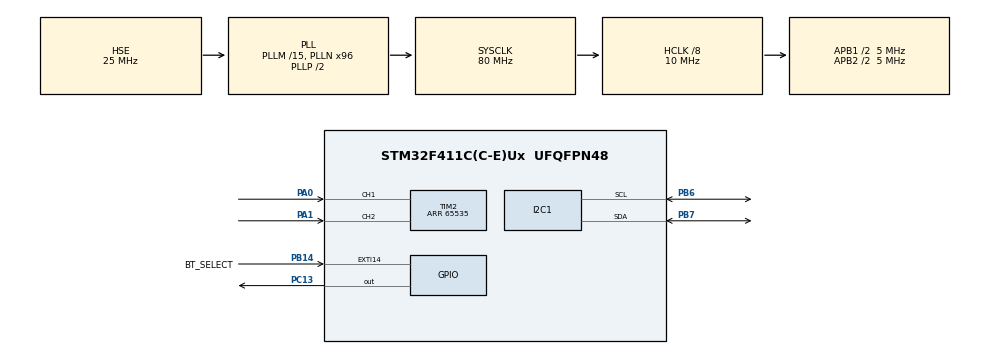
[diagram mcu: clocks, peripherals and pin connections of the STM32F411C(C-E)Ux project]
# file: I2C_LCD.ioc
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Mcu.Family=STM32F4
Mcu.Name=STM32F411C(C-E)Ux
Mcu.Package=UFQFPN48
NVIC.EXTI15_10_IRQn=true\:0\:0\:false\:false\:true\:true\:true\:true
NVIC.PriorityGroup=NVIC_PRIORITYGROUP_4
NVIC.TIM2_IRQn=true\:0\:0\:false\:false\:true\:true\:true\:true
PA0-WKUP.Signal=S_TIM2_CH1_ETR
PA1.Signal=S_TIM2_CH2
PA13.Mode=Serial_Wire
PA13.Signal=SYS_JTMS-SWDIO
PA14.Mode=Serial_Wire
PA14.Signal=SYS_JTCK-SWCLK
PB14.GPIO_Label=BT_SELECT
PB14.GPIO_ModeDefaultEXTI=GPIO_MODE_IT_FALLING
PB14.Signal=GPXTI14
PB6.Mode=I2C
PB6.Signal=I2C1_SCL
PB7.Mode=I2C
PB7.Signal=I2C1_SDA
PC13-ANTI_TAMP.Signal=GPIO_Output
PH0\ -\ OSC_IN.Mode=HSE-External-Oscillator
PH0\ -\ OSC_IN.Signal=RCC_OSC_IN
PH1\ -\ OSC_OUT.Mode=HSE-External-Oscillator
PH1\ -\ OSC_OUT.Signal=RCC_OSC_OUT
ProjectManager.HeapSize=0x200
ProjectManager.StackSize=0x400
ProjectManager.TargetToolchain=STM32CubeIDE
RCC.48MHZClocksFreq_Value=32000000
RCC.AHBCLKDivider=RCC_SYSCLK_DIV8
RCC.AHBFreq_Value=10000000
RCC.APB1CLKDivider=RCC_HCLK_DIV2
RCC.APB1Freq_Value=5000000
RCC.APB1TimFreq_Value=10000000
RCC.APB2CLKDivider=RCC_HCLK_DIV2
RCC.APB2Freq_Value=5000000
RCC.APB2TimFreq_Value=10000000
RCC.CortexFreq_Value=10000000
RCC.HCLKFreq_Value=10000000
RCC.HSE_VALUE=25000000
RCC.HSI_VALUE=16000000
RCC.LSE_VALUE=32768
RCC.PLLM=15
RCC.PLLN=96
RCC.PLLQ=5
RCC.PLLSourceVirtual=RCC_PLLSOURCE_HSE
RCC.SYSCLKFreq_VALUE=80000000
RCC.SYSCLKSource=RCC_SYSCLKSOURCE_PLLCLK
RCC.VCOOutputFreq_Value=160000000
SH.S_TIM2_CH1_ETR.0=TIM2_CH1,Encoder_Interface
SH.S_TIM2_CH2.0=TIM2_CH2,Encoder_Interface
TIM2.IC1Filter=15
TIM2.IC1Polarity=TIM_ICPOLARITY_FALLING
TIM2.IC2Filter=15
TIM2.Period=65535
TIM5.Period=4294967296-1
TIM5.Prescaler=10-1
VP_TIM5_VS_ClockSourceINT.Mode=Internal
board=custom

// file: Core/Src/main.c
/* USER CODE BEGIN Header */
/**
  ******************************************************************************
  * @file           : main.c
  * @brief          : Main program body
  ******************************************************************************
  * @attention
  *
  * Copyright (c) 2022 STMicroelectronics.
  * All rights reserved.
  *
  * This software is licensed under terms that can be found in the LICENSE file
  * in the root directory of this software component.
  * If no LICENSE file comes with this software, it is provided AS-IS.
  *
  ******************************************************************************
  */
/* USER CODE END Header */
#include "main.h"

/* USER CODE BEGIN Includes */
#include "i2c-lcd.h"
#include "HIL_INTERFACE.h"
#include "TimerHW.h"
/* USER CODE END Includes */

/* USER CODE BEGIN PD */
#define IDDLE 0;
/* USER CODE END PD */

I2C_HandleTypeDef hi2c1;

TIM_HandleTypeDef htim2;
TIM_HandleTypeDef htim5;

/* USER CODE BEGIN PV */
volatile char key = IDDLE;
unsigned char sensorFlag = 1; //ESTADO INICIAL 1->FORA DO TAPETE 0> SOBRE O TAPETE
volatile char uartBuffer[2];
volatile char rxMSG[2];
volatile char uartFlagRx;
volatile unsigned char samples = 0;
volatile unsigned char sensorState;
volatile unsigned int timer3Data = 0;
volatile unsigned int timer3Count = 0;

/* USER CODE END PV */

void SystemClock_Config(void);
static void MX_GPIO_Init(void);
static void MX_I2C1_Init(void);
static void MX_TIM2_Init(void);
static void MX_TIM5_Init(void);

/* USER CODE BEGIN 0 */

unsigned char* getSamplesCount()
{
	return &samples;
}

void resetTimer3Variable()
{
	timer3Data = 0;
}

unsigned char getKeyPressed()
{
	return key;
}

void resetKeyPressed()
{
	key = IDDLE;
	HAL_Delay(200);
}

TIM_HandleTypeDef* getTimer2Instance()
{
	return &htim2;
}

TIM_HandleTypeDef* getTimer3Instance()
{
//	return &htim3;
	return &htim5;
}

unsigned char* getSensorFlag()
{
	return &sensorFlag;
}

unsigned char* getTimer3Variable()
{
	return &timer3Data;
}

void delay(uint32_t delay)
{
	__HAL_TIM_SET_COUNTER(&htim5,0);
	while(__HAL_TIM_GET_COUNTER(&htim5) < delay);
}

/* USER CODE END 0 */

int main(void)
{

  /* MCU Configuration--------------------------------------------------------*/

  /* Reset of all peripherals, Initializes the Flash interface and the Systick. */
  HAL_Init();

  /* Configure the system clock */
  SystemClock_Config();

  /* Initialize all configured peripherals */
  MX_GPIO_Init();
  MX_I2C1_Init();
  MX_TIM2_Init();
  MX_TIM5_Init();
  /* USER CODE BEGIN 2 */
  lcd_init();
  lcd_clear();
  lcd_put_cur(0, 0);
  lcd_send_string("hello world");
  HAL_GPIO_WritePin(GPIOC, GPIO_PIN_13, RESET);
  measureValidation();

  /* USER CODE END 2 */

  /* Infinite loop */
  /* USER CODE BEGIN WHILE */
  HAL_TIM_Base_Start(&htim5);
  while (1)
  {
	  HAL_GPIO_TogglePin(GPIOC, GPIO_PIN_13);
	  delay(100000); // 1 tick = 1us
    /* USER CODE END WHILE */

  }
}

void SystemClock_Config(void)
{
  RCC_OscInitTypeDef RCC_OscInitStruct = {0};
  RCC_ClkInitTypeDef RCC_ClkInitStruct = {0};

  /** Configure the main internal regulator output voltage
  */
  __HAL_RCC_PWR_CLK_ENABLE();
  __HAL_PWR_VOLTAGESCALING_CONFIG(PWR_REGULATOR_VOLTAGE_SCALE1);

  /** Initializes the RCC Oscillators according to the specified parameters
  * in the RCC_OscInitTypeDef structure.
  */
  RCC_OscInitStruct.OscillatorType = RCC_OSCILLATORTYPE_HSE;
  RCC_OscInitStruct.HSEState = RCC_HSE_ON;
  RCC_OscInitStruct.PLL.PLLState = RCC_PLL_ON;
  RCC_OscInitStruct.PLL.PLLSource = RCC_PLLSOURCE_HSE;
  RCC_OscInitStruct.PLL.PLLM = 15;
  RCC_OscInitStruct.PLL.PLLN = 96;
  RCC_OscInitStruct.PLL.PLLP = RCC_PLLP_DIV2;
  RCC_OscInitStruct.PLL.PLLQ = 5;
  if (HAL_RCC_OscConfig(&RCC_OscInitStruct) != HAL_OK)
  {
    Error_Handler();
  }

  /** Initializes the CPU, AHB and APB buses clocks
  */
  RCC_ClkInitStruct.ClockType = RCC_CLOCKTYPE_HCLK|RCC_CLOCKTYPE_SYSCLK
                              |RCC_CLOCKTYPE_PCLK1|RCC_CLOCKTYPE_PCLK2;
  RCC_ClkInitStruct.SYSCLKSource = RCC_SYSCLKSOURCE_PLLCLK;
  RCC_ClkInitStruct.AHBCLKDivider = RCC_SYSCLK_DIV8;
  RCC_ClkInitStruct.APB1CLKDivider = RCC_HCLK_DIV2;
  RCC_ClkInitStruct.APB2CLKDivider = RCC_HCLK_DIV2;

  if (HAL_RCC_ClockConfig(&RCC_ClkInitStruct, FLASH_LATENCY_0) != HAL_OK)
  {
    Error_Handler();
  }
}

static void MX_I2C1_Init(void)
{

  hi2c1.Instance = I2C1;
  hi2c1.Init.ClockSpeed = 100000;
  hi2c1.Init.DutyCycle = I2C_DUTYCYCLE_2;
  hi2c1.Init.OwnAddress1 = 0;
  hi2c1.Init.AddressingMode = I2C_ADDRESSINGMODE_7BIT;
  hi2c1.Init.DualAddressMode = I2C_DUALADDRESS_DISABLE;
  hi2c1.Init.OwnAddress2 = 0;
  hi2c1.Init.GeneralCallMode = I2C_GENERALCALL_DISABLE;
  hi2c1.Init.NoStretchMode = I2C_NOSTRETCH_DISABLE;
  if (HAL_I2C_Init(&hi2c1) != HAL_OK)
  {
    Error_Handler();
  }

}

static void MX_TIM2_Init(void)
{

  TIM_Encoder_InitTypeDef sConfig = {0};
  TIM_MasterConfigTypeDef sMasterConfig = {0};

  htim2.Instance = TIM2;
  htim2.Init.Prescaler = 0;
  htim2.Init.CounterMode = TIM_COUNTERMODE_UP;
  htim2.Init.Period = 65535;
  htim2.Init.ClockDivision = TIM_CLOCKDIVISION_DIV1;
  htim2.Init.AutoReloadPreload = TIM_AUTORELOAD_PRELOAD_DISABLE;
  sConfig.EncoderMode = TIM_ENCODERMODE_TI1;
  sConfig.IC1Polarity = TIM_ICPOLARITY_FALLING;
  sConfig.IC1Selection = TIM_ICSELECTION_DIRECTTI;
  sConfig.IC1Prescaler = TIM_ICPSC_DIV1;
  sConfig.IC1Filter = 15;
  sConfig.IC2Polarity = TIM_ICPOLARITY_RISING;
  sConfig.IC2Selection = TIM_ICSELECTION_DIRECTTI;
  sConfig.IC2Prescaler = TIM_ICPSC_DIV1;
  sConfig.IC2Filter = 15;
  if (HAL_TIM_Encoder_Init(&htim2, &sConfig) != HAL_OK)
  {
    Error_Handler();
  }
  sMasterConfig.MasterOutputTrigger = TIM_TRGO_RESET;
  sMasterConfig.MasterSlaveMode = TIM_MASTERSLAVEMODE_DISABLE;
  if (HAL_TIMEx_MasterConfigSynchronization(&htim2, &sMasterConfig) != HAL_OK)
  {
    Error_Handler();
  }

}

static void MX_TIM5_Init(void)
{

  TIM_ClockConfigTypeDef sClockSourceConfig = {0};
  TIM_MasterConfigTypeDef sMasterConfig = {0};

  htim5.Instance = TIM5;
  htim5.Init.Prescaler = 10-1;
  htim5.Init.CounterMode = TIM_COUNTERMODE_UP;
  htim5.Init.Period = 4294967296-1;
  htim5.Init.ClockDivision = TIM_CLOCKDIVISION_DIV1;
  htim5.Init.AutoReloadPreload = TIM_AUTORELOAD_PRELOAD_DISABLE;
  if (HAL_TIM_Base_Init(&htim5) != HAL_OK)
  {
    Error_Handler();
  }
  sClockSourceConfig.ClockSource = TIM_CLOCKSOURCE_INTERNAL;
  if (HAL_TIM_ConfigClockSource(&htim5, &sClockSourceConfig) != HAL_OK)
  {
    Error_Handler();
  }
  sMasterConfig.MasterOutputTrigger = TIM_TRGO_RESET;
  sMasterConfig.MasterSlaveMode = TIM_MASTERSLAVEMODE_DISABLE;
  if (HAL_TIMEx_MasterConfigSynchronization(&htim5, &sMasterConfig) != HAL_OK)
  {
    Error_Handler();
  }

}

static void MX_GPIO_Init(void)
{
  GPIO_InitTypeDef GPIO_InitStruct = {0};

  /* GPIO Ports Clock Enable */
  __HAL_RCC_GPIOC_CLK_ENABLE();
  __HAL_RCC_GPIOH_CLK_ENABLE();
  __HAL_RCC_GPIOA_CLK_ENABLE();
  __HAL_RCC_GPIOB_CLK_ENABLE();

  /*Configure GPIO pin Output Level */
  HAL_GPIO_WritePin(GPIOC, GPIO_PIN_13, GPIO_PIN_RESET);

  /*Configure GPIO pin : PC13 */
  GPIO_InitStruct.Pin = GPIO_PIN_13;
  GPIO_InitStruct.Mode = GPIO_MODE_OUTPUT_PP;
  GPIO_InitStruct.Pull = GPIO_NOPULL;
  GPIO_InitStruct.Speed = GPIO_SPEED_FREQ_LOW;
  HAL_GPIO_Init(GPIOC, &GPIO_InitStruct);

  /*Configure GPIO pin : BT_SELECT_Pin */
  GPIO_InitStruct.Pin = BT_SELECT_Pin;
  GPIO_InitStruct.Mode = GPIO_MODE_IT_FALLING;
  GPIO_InitStruct.Pull = GPIO_NOPULL;
  HAL_GPIO_Init(BT_SELECT_GPIO_Port, &GPIO_InitStruct);

  /* EXTI interrupt init*/
  HAL_NVIC_SetPriority(EXTI15_10_IRQn, 0, 0);
  HAL_NVIC_EnableIRQ(EXTI15_10_IRQn);

}

/* USER CODE BEGIN 4 */
//void HAL_TIM_PeriodElapsedCallback(TIM_HandleTypeDef* htim)
//{
//	if(htim == &htim3) //10us
//	{
////		HAL_GPIO_TogglePin(GPIOC, GPIO_PIN_13);
//		timer3Count+=10;  //1ms
////		if(timer3Count == 10)
////		{
////		timer3Data += timer3Count; //10ms
//		samples++;
//	}
//
//}
void HAL_TIM_IC_CaptureCallback(TIM_HandleTypeDef *htim)
{
	if(htim == &htim2)
	{
		if(htim->Channel == 2)
		{
			sensorFlag = 1;

		}
		else if(htim->Channel == 1)
		{
			sensorFlag = 0;
		}
	}
}
void HAL_GPIO_EXTI_Callback(uint16_t GPIO_Pin)
{
	switch(GPIO_Pin)
	{
		/*Alguns blocos comentados apenas para a versao do teeste I2C_LCD
		 *
		 */
		case BT_SELECT_Pin:
			key = CONFIRMAR;
		break;
//		case BT_STOP_Pin:
//			key = PARAR;
//		break;
	}

}
/* USER CODE END 4 */

void Error_Handler(void)
{
  __disable_irq();
  while (1)
  {
  }
}
